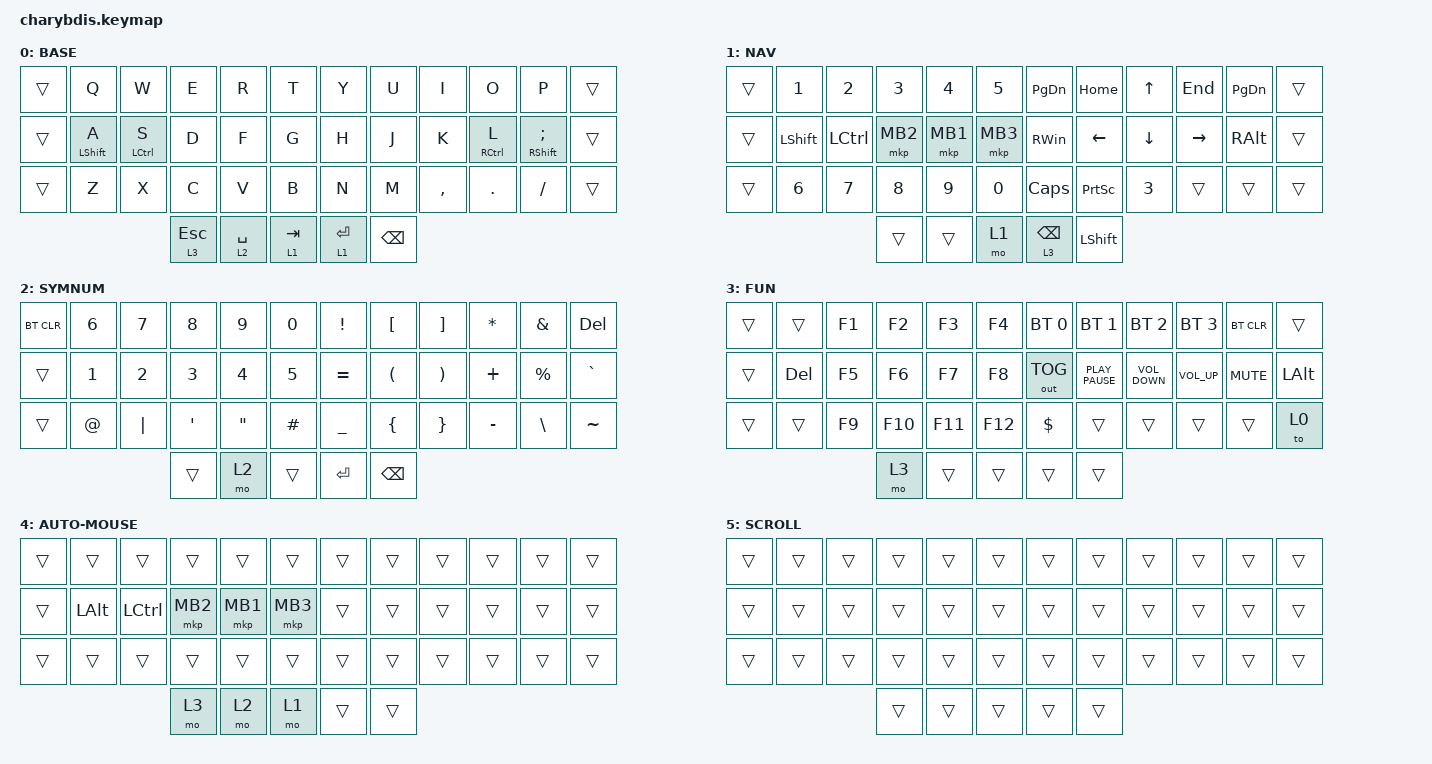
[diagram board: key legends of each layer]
#include <behaviors/mouse_keys.dtsi>
#include <dt-bindings/zmk/mouse.h>
#include <behaviors.dtsi>
#include <dt-bindings/zmk/bt.h>
#include <dt-bindings/zmk/keys.h>
#include <dt-bindings/zmk/outputs.h>
#include <dt-bindings/zmk/pointing.h>

#define U_TAPPING_TERM 200

/ {
    chosen { zmk,matrix_transform = &default_transform; };
};

/ {
    combos {
        compatible = "zmk,combos";

        Delete {
            bindings = <&kp DELETE>;
            key-positions = <8 9>;
        };

        CapsWord {
            bindings = <&caps_word>;
            key-positions = <17 18>;
        };

        lang {
            bindings = <&kp LG(SPACE)>;
            key-positions = <5 6>;
        };
    };

    behaviors {
        u_mt: u_mt {
            compatible = "zmk,behavior-hold-tap";
            label = "u_mt";
            #binding-cells = <2>;
            flavor = "tap-preferred";
            bindings = <&kp>, <&kp>;

            tapping-term-ms = <150>;
            quick-tap-ms = <0>;
        };

        u_lt: u_lt {
            compatible = "zmk,behavior-hold-tap";
            label = "u_lt";
            #binding-cells = <2>;
            tapping_term_ms = <U_TAPPING_TERM>;
            flavor = "tap-preferred";
            bindings = <&mo>, <&kp>;
        };

        Shift_Enter: Shift_Enter {
            compatible = "zmk,behavior-hold-tap";
            label = "SHIFT_ENTER";
            bindings = <&kp>, <&kp>;

            #binding-cells = <2>;
            hold-trigger-key-positions = <40>;
            tapping-term-ms = <100>;
        };
    };

    keymap {
        compatible = "zmk,keymap";

        BASE {
            bindings = <
&trans  &kp Q               &kp W          &kp E         &kp R        &kp T        &kp Y        &kp U          &kp I      &kp O          &kp P                   &trans
&trans  &u_mt LEFT_SHIFT A  &u_mt LCTRL S  &kp D         &kp F        &kp G        &kp H        &kp J          &kp K      &u_mt RCTRL L  &u_mt RIGHT_SHIFT SEMI  &trans
&trans  &kp Z               &kp X          &kp C         &kp V        &kp B        &kp N        &kp M          &kp COMMA  &kp DOT        &kp FSLH                &trans
                                           &lt 3 ESCAPE  &lt 2 SPACE  &lt 1 TAB    &lt 1 ENTER  &kp BACKSPACE
            >;
        };

        NAV {
            bindings = <
&trans  &kp NUMBER_1    &kp NUMBER_2  &kp NUMBER_3  &kp NUMBER_4  &kp NUMBER_5    &kp PAGE_DOWN    &kp HOME         &kp UP_ARROW    &kp END          &kp PAGE_DOWN  &trans
&trans  &kp LEFT_SHIFT  &kp LCTRL     &mkp MB2      &mkp MB1      &mkp MB3        &kp RIGHT_WIN    &kp LEFT_ARROW   &kp DOWN_ARROW  &kp RIGHT_ARROW  &kp RIGHT_ALT  &trans
&trans  &kp NUMBER_6    &kp NUMBER_7  &kp NUMBER_8  &kp NUMBER_9  &kp NUMBER_0    &kp CAPSLOCK     &kp PRINTSCREEN  &kp N3          &trans           &trans         &trans
                                      &trans        &trans        &mo 1           &lt 3 BACKSPACE  &kp LSHFT
            >;
        };

        SYMNUM {
            bindings = <
&bt BT_CLR  &kp NUMBER_6  &kp N7        &kp N8        &kp N9             &kp N0      &kp EXCLAMATION  &kp LEFT_BRACKET      &kp RIGHT_BRACKET      &kp ASTERISK  &kp AMPERSAND  &kp DEL
&trans      &kp NUMBER_1  &kp NUMBER_2  &kp NUMBER_3  &kp NUMBER_4       &kp N5      &kp EQUAL        &kp LEFT_PARENTHESIS  &kp RIGHT_PARENTHESIS  &kp PLUS      &kp PERCENT    &kp GRAVE
&trans      &kp AT_SIGN   &kp PIPE      &kp SQT       &kp DOUBLE_QUOTES  &kp HASH    &kp UNDERSCORE   &kp LEFT_BRACE        &kp RIGHT_BRACE        &kp MINUS     &kp BACKSLASH  &kp TILDE
                                        &trans        &mo 2              &trans      &kp RETURN       &kp BACKSPACE
            >;
        };

        FUN {
            bindings = <
&trans  &trans   &kp F1  &kp F2   &kp F3   &kp F4     &bt BT_SEL 0  &bt BT_SEL 1      &bt BT_SEL 2       &bt BT_SEL 3     &bt BT_CLR  &trans
&trans  &kp DEL  &kp F5  &kp F6   &kp F7   &kp F8     &out OUT_TOG  &kp K_PLAY_PAUSE  &kp C_VOLUME_DOWN  &kp C_VOLUME_UP  &kp C_MUTE  &kp LALT
&trans  &trans   &kp F9  &kp F10  &kp F11  &kp F12    &kp DOLLAR    &trans            &trans             &trans           &trans      &to 0
                         &mo 3    &trans   &trans     &trans        &trans
            >;
        };

        AUTO-MOUSE {
            bindings = <
&trans  &trans        &trans     &trans    &trans    &trans      &trans  &trans  &trans  &trans  &trans  &trans
&trans  &kp LEFT_ALT  &kp LCTRL  &mkp MB2  &mkp MB1  &mkp MB3    &trans  &trans  &trans  &trans  &trans  &trans
&trans  &trans        &trans     &trans    &trans    &trans      &trans  &trans  &trans  &trans  &trans  &trans
                                 &mo 3     &mo 2     &mo 1       &trans  &trans
            >;
        };

        SCROLL {
            bindings = <
&trans  &trans  &trans  &trans  &trans  &trans    &trans  &trans  &trans  &trans  &trans  &trans
&trans  &trans  &trans  &trans  &trans  &trans    &trans  &trans  &trans  &trans  &trans  &trans
&trans  &trans  &trans  &trans  &trans  &trans    &trans  &trans  &trans  &trans  &trans  &trans
                        &trans  &trans  &trans    &trans  &trans
            >;
        };
    };
};
